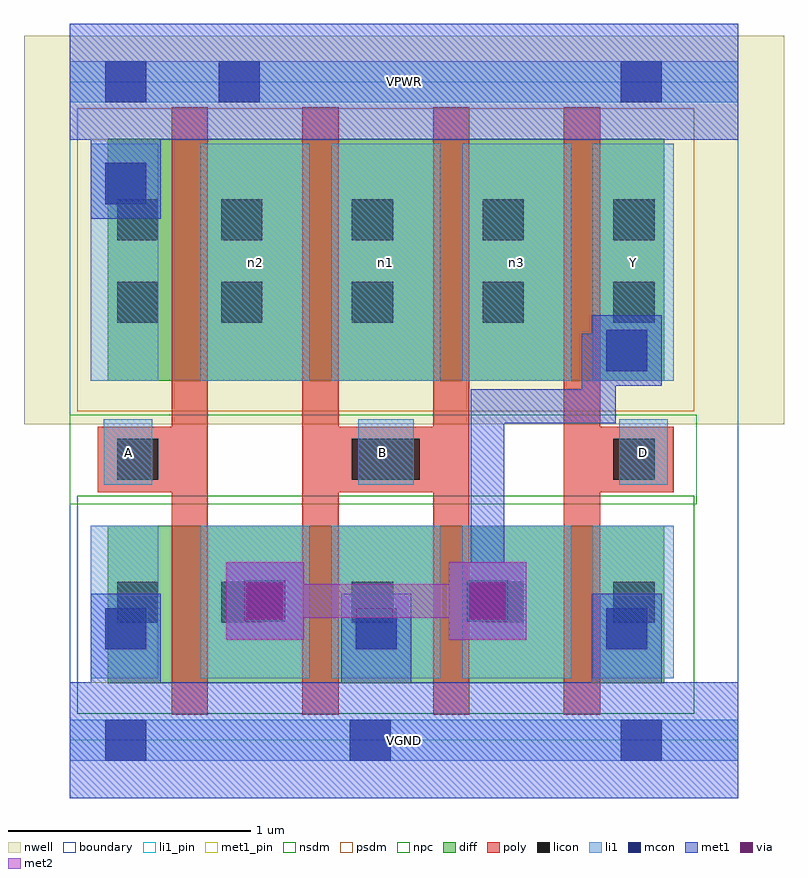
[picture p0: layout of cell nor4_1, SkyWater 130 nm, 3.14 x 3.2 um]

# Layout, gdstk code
import gdstk
lib = gdstk.Library(unit=1e-6, precision=1e-09)
def R(c, l, rs):  # rectangles x0, y0, x1, y1
    for r in rs: c.add(gdstk.rectangle(r[:2], r[2:], *l))
def A(c, l, x, y, w, h, nx, ny, dx, dy):  # array of equal rectangles
    R(c, l, [(x+i*dx, y+j*dy, x+i*dx+w, y+j*dy+h) for i in range(nx) for j in range(ny)])
nwell = (64, 20)
diff = (65, 20)
poly = (66, 20)
licon = (66, 44)
li1_pin = (67, 16)
li1 = (67, 20)
mcon = (67, 44)
met1_pin = (68, 16)
met1 = (68, 20)
via = (68, 44)
met2 = (69, 20)
nsdm = (93, 44)
psdm = (94, 20)
npc = (95, 20)
boundary = (235, 4)

nor4_1 = lib.new_cell('nor4_1')
R(nor4_1, nwell, [(-0.19,1.305,2.95,2.91), (0,1.305,2.76,2.91)])
R(nor4_1, diff, [(0.155,0.235,2.455,0.885), (0.155,1.485,2.455,2.485)])
A(nor4_1, poly, 0.42, 0.105, 0.15, 2.51, 4, 1, 0.54, 0)
R(nor4_1, poly, [(0.115,1.025,0.445,1.295), (1.085,1.025,1.415,1.295), (1.195,1.025,1.525,1.295), (2.165,1.025,2.495,1.295)])
A(nor4_1, licon, 0.625, 0.485, 0.17, 0.17, 4, 2, 0.54, 1.24)
A(nor4_1, licon, 0.625, 2.065, 0.17, 0.17, 4, 1, 0.54, 0)
R(nor4_1, licon, [(0.195,0.485,0.365,0.655), (0.195,1.075,0.365,1.245), (1.165,1.075,1.335,1.245), (1.275,1.075,1.445,1.245), (2.245,1.075,2.415,1.245), (0.195,1.725,0.365,1.895), (0.195,2.065,0.365,2.235)])
R(nor4_1, li1_pin, [(0.14,1.055,0.34,1.325), (1.19,1.055,1.39,1.325), (1.22,1.055,1.42,1.325), (2.27,1.055,2.47,1.325), (2.16,1.485,2.495,2.465)])
A(nor4_1, li1, 0.54, 0.255, 0.45, 0.63, 3, 1, 0.54, 0)
A(nor4_1, li1, 0.54, 1.485, 0.45, 0.98, 3, 1, 0.54, 0)
R(nor4_1, li1, [(0,-0.085,2.76,0.085), (0.085,0.255,0.365,0.885), (2.16,0.255,2.495,0.885), (0.14,1.055,0.34,1.325), (1.19,1.055,1.39,1.325), (1.22,1.055,1.42,1.325), (2.27,1.055,2.47,1.325), (0.085,1.485,0.365,2.465), (2.16,1.485,2.495,2.465), (0,2.635,2.76,2.805)])
A(nor4_1, mcon, 0.145, 0.375, 0.17, 0.17, 3, 1, 1.035, 0)
R(nor4_1, mcon, [(0.145,-0.085,0.315,0.085), (1.155,-0.085,1.325,0.085), (2.275,-0.085,2.445,0.085), (0.72,0.49,0.89,0.66), (1.64,0.49,1.81,0.66), (2.215,1.525,2.385,1.695), (0.145,2.215,0.315,2.385), (0.145,2.635,0.315,2.805), (0.145,2.635,0.315,2.805), (0.615,2.635,0.785,2.805), (2.275,2.635,2.445,2.805)])
R(nor4_1, met1_pin, [(0,-0.24,2.76,0.24), (0,2.48,2.76,2.96)])
A(nor4_1, met1, 0.085, 0.24, 0.29, 0.075, 3, 1, 1.035, 0)
A(nor4_1, met1, 0.085, 0.315, 0.29, 0.29, 3, 1, 1.035, 0)
R(nor4_1, met1, [(0,-0.24,2.76,0.24), (0.275,-0.07,0.415,0.185), (0.275,-0.07,1.335,0.07), (1.195,-0.07,1.335,0.53), (1.195,-0.07,2.37,0.07), (2.23,-0.07,2.37,0.53), (0.16,0.045,0.3,0.185), (0.16,0.045,0.3,0.53), (0.16,0.045,0.415,0.185), (0.16,0.185,0.375,0.315), (0.275,0.185,0.375,0.315), (0.645,0.415,0.965,0.735), (1.565,0.415,1.885,0.735), (0.66,0.43,0.95,0.72), (1.58,0.43,1.87,0.72), (1.655,0.505,1.795,1.45), (1.655,1.31,2.255,1.45), (2.115,1.31,2.255,1.68), (2.155,1.465,2.445,1.755), (2.115,1.54,2.37,1.68), (0.085,2.155,0.375,2.445), (0.16,2.23,0.3,2.6), (0.085,2.445,0.375,2.48), (0.085,2.445,0.375,2.575), (0.16,2.46,0.3,2.79), (0,2.48,2.76,2.96), (0.085,2.575,0.375,2.865)])
R(nor4_1, via, [(0.73,0.5,0.88,0.65), (1.65,0.5,1.8,0.65)])
R(nor4_1, met2, [(0.645,0.415,0.965,0.735), (1.565,0.415,1.885,0.735), (0.735,0.505,1.795,0.645)])
R(nor4_1, nsdm, [(0.03,0.11,2.58,1.01)])
R(nor4_1, psdm, [(0.03,1.36,2.58,2.61)])
R(nor4_1, npc, [(0,0.975,2.59,1.345)])
R(nor4_1, boundary, [(0,0,2.76,2.72)])
nor4_1.add(gdstk.Label('A', (0.24,1.19), layer=67, texttype=5))
nor4_1.add(gdstk.Label('B', (1.29,1.19), layer=67, texttype=5))
nor4_1.add(gdstk.Label('C', (1.32,1.19), layer=67, texttype=5))
nor4_1.add(gdstk.Label('D', (2.37,1.19), layer=67, texttype=5))
nor4_1.add(gdstk.Label('Y', (2.327,1.975), layer=67, texttype=5))
nor4_1.add(gdstk.Label('n2', (0.765,1.975), layer=67, texttype=5))
nor4_1.add(gdstk.Label('n1', (1.305,1.975), layer=67, texttype=5))
nor4_1.add(gdstk.Label('n3', (1.845,1.975), layer=67, texttype=5))
nor4_1.add(gdstk.Label('VPWR', (1.38,2.72), layer=68, texttype=5))
nor4_1.add(gdstk.Label('VGND', (1.38,0), layer=68, texttype=5))
nor4_1.add(gdstk.Label('A', (0.24,1.19), layer=67, texttype=16))
nor4_1.add(gdstk.Label('B', (1.29,1.19), layer=67, texttype=16))
nor4_1.add(gdstk.Label('C', (1.32,1.19), layer=67, texttype=16))
nor4_1.add(gdstk.Label('D', (2.37,1.19), layer=67, texttype=16))
nor4_1.add(gdstk.Label('Y', (2.327,1.975), layer=67, texttype=16))
nor4_1.add(gdstk.Label('VPWR', (1.38,2.72), layer=68, texttype=16))
nor4_1.add(gdstk.Label('VGND', (1.38,0), layer=68, texttype=16))

lib.write_gds('nor4_1.gds')
